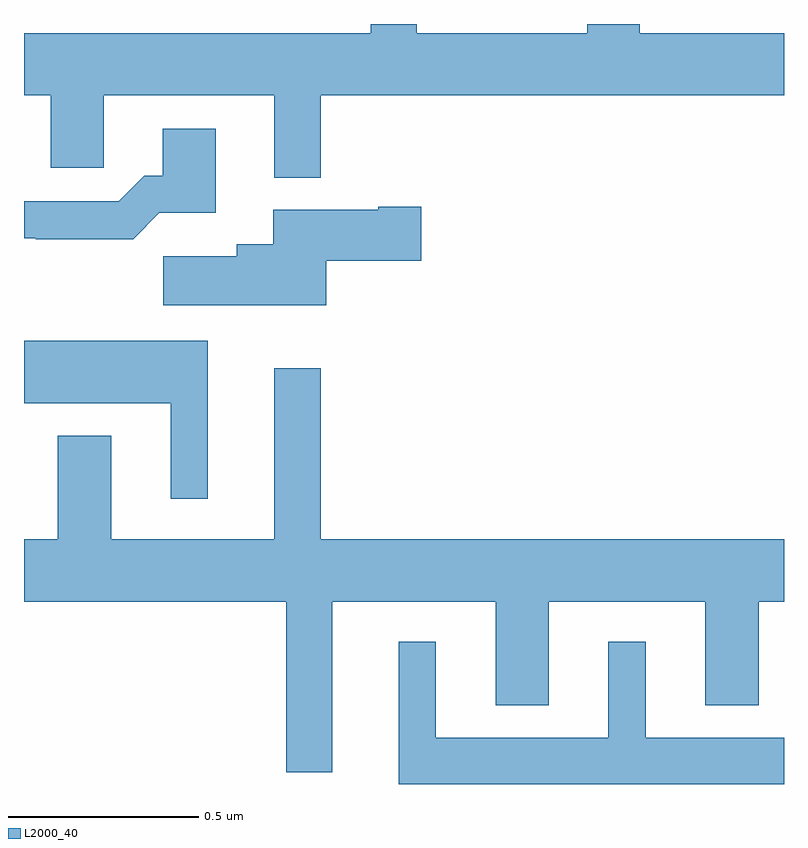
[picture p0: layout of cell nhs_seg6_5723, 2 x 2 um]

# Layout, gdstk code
import gdstk
lib = gdstk.Library(unit=1e-6, precision=1e-09)
def P(c, l, *ps):  # polygons
    for p in ps: c.add(gdstk.Polygon(p, *l))
L2000_40 = (2000, 40)

nhs_seg6_5723 = lib.new_cell('nhs_seg6_5723')
P(nhs_seg6_5723, L2000_40, [(186.781,971.312),(188,971.312),(188,971.476),(187.621,971.476),(187.621,971.5),(187.482,971.5),(187.482,971.476),(187.033,971.476),(187.033,971.5),(186.912,971.5),(186.912,971.476),(186,971.476),(186,971.312),(186.071,971.312),(186.071,971.122),(186.21,971.122),(186.21,971.312),(186.659,971.312),(186.659,971.096),(186.781,971.096)],
  [(186.356,971.003),(186.505,971.003),(186.505,971.224),(186.365,971.224),(186.365,971.101),(186.316,971.101),(186.249,971.034),(186,971.034),(186,970.936),(186.031,970.936),(186.031,970.934),(186.287,970.934)],
  [(186.796,970.877),(187.045,970.877),(187.045,971.019),(186.932,971.019),(186.932,971.011),(186.656,971.011),(186.656,970.921),(186.56,970.921),(186.56,970.889),(186.366,970.889),(186.366,970.76),(186.796,970.76)],
  [(186.484,970.666),(186,970.666),(186,970.502),(186.386,970.502),(186.386,970.251),(186.484,970.251)],
  [(186.811,969.98),(187.241,969.98),(187.241,969.707),(187.381,969.707),(187.381,969.98),(187.793,969.98),(187.793,969.707),(187.933,969.707),(187.933,969.98),(188,969.98),(188,970.144),(186.781,970.144),(186.781,970.594),(186.659,970.594),(186.659,970.144),(186.229,970.144),(186.229,970.417),(186.089,970.417),(186.089,970.144),(186,970.144),(186,969.98),(186.69,969.98),(186.69,969.531),(186.811,969.531)],
  [(188,969.622),(187.636,969.622),(187.636,969.874),(187.538,969.874),(187.538,969.622),(187.084,969.622),(187.084,969.874),(186.986,969.874),(186.986,969.5),(188,969.5)])

lib.write_gds('nhs_seg6_5723.gds')
